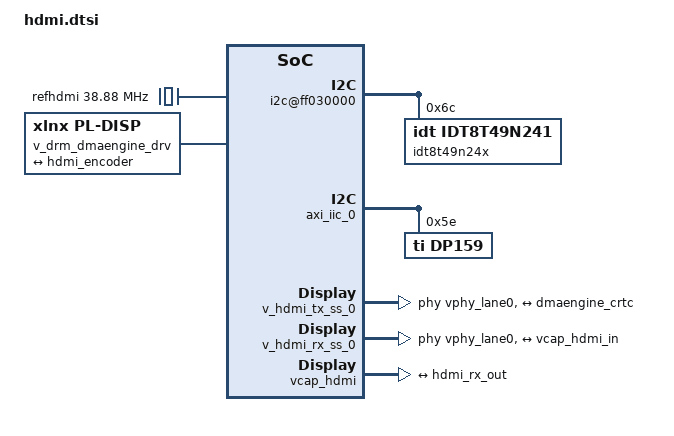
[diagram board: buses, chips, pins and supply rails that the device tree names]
/ {

    amba: amba {
        i2c@ff030000 {
            i2cswitch@70 {
                i2c@0 {

                    /* idt8t49n241 i2c clock generator */
                    idt8t49n24x: clock-generator@6c {
                        status = "okay";
                        compatible = "idt,idt8t49n241";
                        #clock-cells = <1>;
                        reg = <0x6c>;

                        /* input clock(s); the XTAL is hard-wired on the ZCU104 board */
                        clocks = <&refhdmi>;
                        clock-names = "input-xtal";
                    };
                };
            };
        };
    };

    amba_pl: amba_pl@0 {

        /* 38.880MHz reference crystal for 8t49n241 clock for HDMI */
        /* IIC controller with 8t49n24x clock generator and DP159 retimer for HDMI TX */
        refhdmi: refhdmi {
                compatible = "fixed-clock";
                #clock-cells = <0>;
                clock-frequency = <38880000>;
        };

        axi_iic_0: i2c@a0000000 {
            #address-cells = <1>;
            #size-cells = <0>;
            clock-names = "s_axi_aclk";
            clocks = <&zynqmp_clk 71>;
            compatible = "xlnx,axi-iic-2.0", "xlnx,xps-iic-2.00.a";
            interrupt-names = "iic2intc_irpt";
            interrupt-parent = <&gic>;
            interrupts = <0 89 4>;
            reg = <0x0 0xa0000000 0x0 0x10000>;

                /* DP159 exposes a virtual CCF clock. Upon .set_rate(), it adapts its retiming/driving behaviour */
                dp159: hdmi-retimer@5e {
                        status = "okay";
                        compatible = "ti,dp159";
                        reg = <0x5e>;
                        #address-cells = <1>;
                        #size-cells = <0>;
                        #clock-cells = <0>;
                };
        };

        v_frmbuf_rd_0: v_frmbuf_rd@a0060000 {
            #dma-cells = <1>;
            clock-names = "ap_clk";
            clocks = <&zynqmp_clk 72>;
            compatible = "xlnx,v-frmbuf-rd-2.1", "xlnx,axi-frmbuf-rd-v2.1";
            interrupt-names = "interrupt";
            interrupt-parent = <&gic>;
            interrupts = <0 93 4>;
            reg = <0x0 0xa0060000 0x0 0x10000>;
            reset-gpios = <&gpio 78 1>;
            xlnx,dma-addr-width = <64>;
            xlnx,dma-align = <16>;
            xlnx,fid ;
            xlnx,max-height = <2160>;
            xlnx,max-width = <3840>;
            xlnx,pixels-per-clock = <2>;
            xlnx,s-axi-ctrl-addr-width = <0x7>;
            xlnx,s-axi-ctrl-data-width = <0x20>;
            xlnx,vid-formats = "rgb888", "xbgr8888", "xrgb8888", "bgr888", "uyvy", "y8", "vuy888", "xvuy8888", "yuyv", "nv12", "nv16";
            xlnx,video-width = <8>;
        };

        v_hdmi_tx_ss_0: v_hdmi_tx_ss@a0040000 {
            clock-names = "s_axi_cpu_aclk", "link_clk", "s_axis_audio_aclk", "video_clk", "s_axis_video_aclk", "txref-clk", "retimer-clk";
            clocks = <&zynqmp_clk 71>, <&misc_clk_0>, <&zynqmp_clk 71>, <&misc_clk_1>, <&zynqmp_clk 72>, <&idt8t49n24x 3>, <&dp159>;
            compatible = "xlnx,v-hdmi-tx-ss-3.1", "xlnx,v-hdmi-tx-ss-3.1";
            interrupt-names = "irq";
            interrupt-parent = <&gic>;
            interrupts = <0 92 4>;
            phy-names = "hdmi-phy0", "hdmi-phy1", "hdmi-phy2";
            phys = <&vphy_lane0 0 1 1 1>, <&vphy_lane1 0 1 1 1>, <&vphy_lane2 0 1 1 1>;
            reg = <0x0 0xa0040000 0x0 0x20000>;
            xlnx,input-pixels-per-clock = <2>;
            xlnx,max-bits-per-component = <8>;
            hdmitx_ports: ports {
                    #address-cells = <1>;
                    #size-cells = <0>;
                    encoder_hdmi_port: port@0 {
                            reg = <0>;
                            hdmi_encoder: endpoint {
                                    remote-endpoint = <&dmaengine_crtc>;
                            };
                    };
            };

        };

        v_drm_dmaengine_drv: drm-dmaengine-drv {
        #address-cells = <1>;
        #size-cells = <0>;
        /* Fill the fields xlnx,vformat based on user requirement */
        compatible = "xlnx,pl-disp";
        dma-names = "dma0";
        dmas = <&v_frmbuf_rd_0 0>;
        xlnx,vformat = "BG24";
        /*xlnx,vformat = "YUYV";*/

            dmaengine_port: port@0 {
                reg = <0>;
                dmaengine_crtc: endpoint {
                        remote-endpoint = <&hdmi_encoder>;
                };
            };
        };








        v_frmbuf_wr_0: v_frmbuf_wr@a0020000 {
            #dma-cells = <1>;
            clock-names = "ap_clk";
            clocks = <&zynqmp_clk 72>;
            compatible = "xlnx,v-frmbuf-wr-2.1", "xlnx,axi-frmbuf-wr-v2.1";
            interrupt-names = "interrupt";
            interrupt-parent = <&gic>;
            interrupts = <0 94 4>;
            reg = <0x0 0xa0020000 0x0 0x10000>;
            reset-gpios = <&gpio 79 1>;
            xlnx,dma-addr-width = <64>;
            xlnx,dma-align = <16>;
            xlnx,fid ;
            xlnx,max-height = <2160>;
            xlnx,max-width = <3840>;
            xlnx,pixels-per-clock = <2>;
            xlnx,s-axi-ctrl-addr-width = <0x7>;
            xlnx,s-axi-ctrl-data-width = <0x20>;
            xlnx,vid-formats = "rgb888", "bgr888", "xbgr8888", "xrgb8888", "uyvy", "y8", "vuy888", "xvuy8888", "yuyv", "nv12", "nv16";
            xlnx,video-width = <8>;
        };


        v_hdmi_rx_ss_0: v_hdmi_rx_ss@a0010000 {
            clock-names = "s_axi_cpu_aclk", "link_clk", "s_axis_audio_aclk", "video_clk", "s_axis_video_aclk";
            clocks = <&zynqmp_clk 71>, <&misc_clk_0>, <&zynqmp_clk 71>, <&misc_clk_1>, <&zynqmp_clk 72>;
            compatible = "xlnx,v-hdmi-rx-ss-3.1", "xlnx,v-hdmi-rx-ss-3.1";
            interrupt-names = "irq";
            interrupt-parent = <&gic>;
            interrupts = <0 90 4>;
            phy-names = "hdmi-phy0", "hdmi-phy1", "hdmi-phy2";
            phys = <&vphy_lane0 0 1 1 0>, <&vphy_lane1 0 1 1 0>, <&vphy_lane2 0 1 1 0>;
            reg = <0x0 0xa0010000 0x0 0x10000>;
            reg-names = "hdmi-rxss";
            xlnx,edid-ram-size = <0x100>;
            xlnx,input-pixels-per-clock = <2>;
            xlnx,max-bits-per-component = <8>;
            hdmirx_ports: ports {
                #address-cells = <1>;
                #size-cells = <0>;
                hdmirx_port: port@0 {
                        reg = <0>;
                        hdmi_rx_out: endpoint {
                                remote-endpoint = <&vcap_hdmi_in>;
                        };
                };
            };
        };
        
        vcap_hdmi {
            compatible = "xlnx,video";
            dma-names = "port0";
            dmas = <&v_frmbuf_wr_0 0>;
            vcap_hdmi_ports: ports {
                    #address-cells = <1>;
                    #size-cells = <0>;
                    vcap_hdmi_port: port@0 {
                            direction = "input";
                            reg = <0>;
                            vcap_hdmi_in: endpoint {
                                    remote-endpoint = <&hdmi_rx_out>;
                            };
                    };
            };
        };

    };
};
